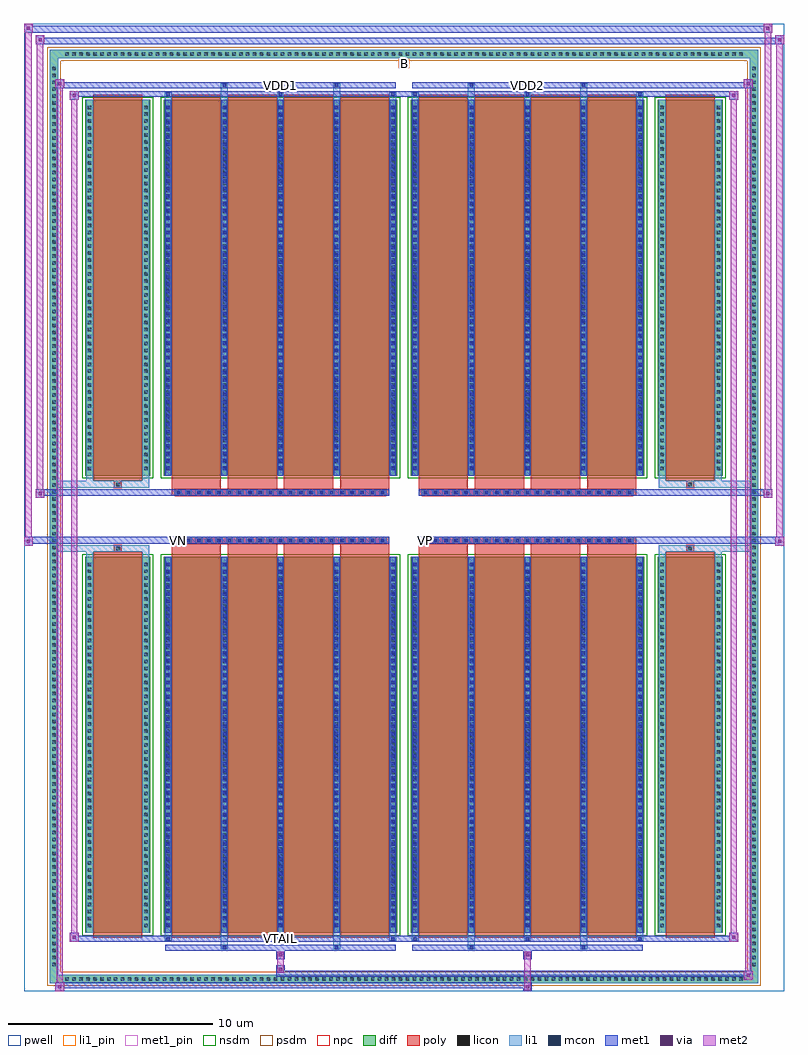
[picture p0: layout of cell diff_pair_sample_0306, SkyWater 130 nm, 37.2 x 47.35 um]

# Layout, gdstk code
import gdstk
lib = gdstk.Library(unit=1e-6, precision=5e-09)
def R(c, l, rs):  # rectangles x0, y0, x1, y1
    for r in rs: c.add(gdstk.rectangle(r[:2], r[2:], *l))
def A(c, l, x, y, w, h, nx, ny, dx, dy):  # array of equal rectangles
    R(c, l, [(x+i*dx, y+j*dy, x+i*dx+w, y+j*dy+h) for i in range(nx) for j in range(ny)])
def P(c, l, *ps):  # polygons
    for p in ps: c.add(gdstk.Polygon(p, *l))
pwell = (64, 44)
diff = (65, 20)
poly = (66, 20)
licon = (66, 44)
li1_pin = (67, 16)
li1 = (67, 20)
mcon = (67, 44)
met1_pin = (68, 16)
met1 = (68, 20)
via = (68, 44)
met2 = (69, 20)
nsdm = (93, 44)
psdm = (94, 20)
npc = (95, 20)

diff_pair_sample_0306 = lib.new_cell('diff_pair_sample_0306')
R(diff_pair_sample_0306, pwell, [(-18.6,-23.24,18.6,24.11), (-15.92,-21.43,-0.01,-0.805), (0.01,-21.43,15.92,-0.805), (-15.92,0.805,-0.01,21.43), (0.01,0.805,15.92,21.43)])
A(diff_pair_sample_0306, diff, -16.695, -22.84, 0.41, 0.41, 98, 2, 0.34, 45.27)
A(diff_pair_sample_0306, diff, -17.33, -22.135, 0.41, 0.41, 1, 130, 0, 0.34)
A(diff_pair_sample_0306, diff, 16.92, -22.135, 0.41, 0.41, 1, 130, 0, 0.34)
R(diff_pair_sample_0306, diff, [(-16.695,-22.84,16.695,-22.43), (-17.33,-22.135,-16.92,22.135), (16.92,-22.135,17.33,22.135), (-15.61,-20.385,-12.41,-1.985), (-11.77,-20.385,-0.32,-1.985), (0.32,-20.385,11.77,-1.985), (12.41,-20.385,15.61,-1.985), (-15.61,1.985,-12.41,20.385), (-11.77,1.985,-0.32,20.385), (0.32,1.985,11.77,20.385), (12.41,1.985,15.61,20.385), (-16.695,22.43,16.695,22.84)])
P(diff_pair_sample_0306, diff, [(17.33,22.84),(-17.33,22.84),(-17.33,-22.43),(-16.92,-22.43),(-16.92,22.43),(16.92,22.43),(16.92,-22.43),(-16.92,-22.43),(-17.33,-22.43),(-17.33,-22.84),(17.33,-22.84)])
A(diff_pair_sample_0306, poly, -11.38, -20.635, 2.42, 18.9, 4, 2, 2.75, 22.37)
A(diff_pair_sample_0306, poly, 0.71, -20.635, 2.42, 18.9, 4, 2, 2.75, 22.37)
A(diff_pair_sample_0306, poly, -11.38, -1.735, 2.42, 0.4, 4, 2, 2.75, 3.07)
A(diff_pair_sample_0306, poly, 0.71, -1.735, 2.42, 0.4, 4, 2, 2.75, 3.07)
A(diff_pair_sample_0306, poly, -11.21, -1.335, 0.33, 0.33, 21, 2, 0.5, 2.34)
A(diff_pair_sample_0306, poly, 0.88, -1.335, 0.33, 0.33, 21, 2, 0.5, 2.34)
R(diff_pair_sample_0306, poly, [(-15.22,-20.635,-12.8,-1.735), (12.8,-20.635,15.22,-1.735), (-14.175,-1.735,-13.845,-1.405), (-14.175,-1.735,-13.845,-1.405), (13.845,-1.735,14.175,-1.405), (13.845,-1.735,14.175,-1.405), (-11.38,-1.335,-0.71,-1.005), (0.71,-1.335,11.38,-1.005), (-11.38,1.005,-0.71,1.335), (0.71,1.005,11.38,1.335), (-14.175,1.405,-13.845,1.735), (-14.175,1.405,-13.845,1.735), (13.845,1.405,14.175,1.735), (13.845,1.405,14.175,1.735), (-15.22,1.735,-12.8,20.635), (12.8,1.735,15.22,20.635)])
A(diff_pair_sample_0306, licon, -16.575, -22.72, 0.17, 0.17, 98, 2, 0.34, 45.27)
A(diff_pair_sample_0306, licon, -17.21, -22.015, 0.17, 0.17, 1, 130, 0, 0.34)
A(diff_pair_sample_0306, licon, 17.04, -22.015, 0.17, 0.17, 1, 130, 0, 0.34)
A(diff_pair_sample_0306, licon, -15.47, -20.11, 0.17, 0.17, 1, 53, 0, 0.34)
A(diff_pair_sample_0306, licon, -12.72, -20.11, 0.17, 0.17, 1, 53, 0, 0.34)
A(diff_pair_sample_0306, licon, -11.63, -20.11, 0.17, 0.17, 5, 53, 2.75, 0.34)
A(diff_pair_sample_0306, licon, 0.46, -20.11, 0.17, 0.17, 5, 53, 2.75, 0.34)
A(diff_pair_sample_0306, licon, 12.55, -20.11, 0.17, 0.17, 1, 53, 0, 0.34)
A(diff_pair_sample_0306, licon, 15.3, -20.11, 0.17, 0.17, 1, 53, 0, 0.34)
A(diff_pair_sample_0306, licon, -11.13, -1.255, 0.17, 0.17, 21, 2, 0.5, 2.34)
A(diff_pair_sample_0306, licon, 0.96, -1.255, 0.17, 0.17, 21, 2, 0.5, 2.34)
A(diff_pair_sample_0306, licon, -15.47, 2.26, 0.17, 0.17, 1, 53, 0, 0.34)
A(diff_pair_sample_0306, licon, -12.72, 2.26, 0.17, 0.17, 1, 53, 0, 0.34)
A(diff_pair_sample_0306, licon, -11.63, 2.26, 0.17, 0.17, 5, 53, 2.75, 0.34)
A(diff_pair_sample_0306, licon, 0.46, 2.26, 0.17, 0.17, 5, 53, 2.75, 0.34)
A(diff_pair_sample_0306, licon, 12.55, 2.26, 0.17, 0.17, 1, 53, 0, 0.34)
A(diff_pair_sample_0306, licon, 15.3, 2.26, 0.17, 0.17, 1, 53, 0, 0.34)
R(diff_pair_sample_0306, licon, [(-14.095,-1.655,-13.925,-1.485), (13.925,-1.655,14.095,-1.485), (-14.095,1.485,-13.925,1.655), (13.925,1.485,14.095,1.655)])
R(diff_pair_sample_0306, li1_pin, [(-0.25,21.93,0.25,22.43)])
A(diff_pair_sample_0306, li1, -16.655, -22.8, 0.33, 0.33, 98, 2, 0.34, 45.27)
A(diff_pair_sample_0306, li1, -17.29, -22.095, 0.33, 0.33, 1, 130, 0, 0.34)
A(diff_pair_sample_0306, li1, 16.96, -22.095, 0.33, 0.33, 1, 130, 0, 0.34)
A(diff_pair_sample_0306, li1, -11.71, -20.76, 0.33, 0.375, 3, 2, 5.5, 41.145)
A(diff_pair_sample_0306, li1, -11.63, -20.76, 0.17, 0.17, 3, 2, 5.5, 41.35)
A(diff_pair_sample_0306, li1, 0.38, -20.76, 0.33, 0.375, 3, 2, 5.5, 41.145)
A(diff_pair_sample_0306, li1, 0.46, -20.76, 0.17, 0.17, 3, 2, 5.5, 41.35)
A(diff_pair_sample_0306, li1, -11.71, -20.385, 0.33, 18.4, 5, 2, 2.75, 22.37)
A(diff_pair_sample_0306, li1, 0.38, -20.385, 0.33, 18.4, 5, 2, 2.75, 22.37)
A(diff_pair_sample_0306, li1, -15.55, -20.19, 0.33, 0.33, 1, 53, 0, 0.34)
A(diff_pair_sample_0306, li1, -12.8, -20.19, 0.33, 0.33, 1, 53, 0, 0.34)
A(diff_pair_sample_0306, li1, -11.71, -20.19, 0.33, 0.33, 5, 53, 2.75, 0.34)
A(diff_pair_sample_0306, li1, 0.38, -20.19, 0.33, 0.33, 5, 53, 2.75, 0.34)
A(diff_pair_sample_0306, li1, 12.47, -20.19, 0.33, 0.33, 1, 53, 0, 0.34)
A(diff_pair_sample_0306, li1, 15.22, -20.19, 0.33, 0.33, 1, 53, 0, 0.34)
A(diff_pair_sample_0306, li1, -11.63, -20.09, 0.17, 0.17, 5, 50, 2.75, 0.36)
A(diff_pair_sample_0306, li1, -11.63, -20.09, 0.17, 17.81, 5, 2, 2.75, 22.37)
A(diff_pair_sample_0306, li1, 0.46, -20.09, 0.17, 0.17, 5, 50, 2.75, 0.36)
A(diff_pair_sample_0306, li1, 0.46, -20.09, 0.17, 17.81, 5, 2, 2.75, 22.37)
A(diff_pair_sample_0306, li1, -11.21, -1.335, 0.33, 0.33, 21, 2, 0.5, 2.34)
A(diff_pair_sample_0306, li1, 0.88, -1.335, 0.33, 0.33, 21, 2, 0.5, 2.34)
A(diff_pair_sample_0306, li1, -15.55, 2.18, 0.33, 0.33, 1, 53, 0, 0.34)
A(diff_pair_sample_0306, li1, -12.8, 2.18, 0.33, 0.33, 1, 53, 0, 0.34)
A(diff_pair_sample_0306, li1, -11.71, 2.18, 0.33, 0.33, 5, 53, 2.75, 0.34)
A(diff_pair_sample_0306, li1, 0.38, 2.18, 0.33, 0.33, 5, 53, 2.75, 0.34)
A(diff_pair_sample_0306, li1, 12.47, 2.18, 0.33, 0.33, 1, 53, 0, 0.34)
A(diff_pair_sample_0306, li1, 15.22, 2.18, 0.33, 0.33, 1, 53, 0, 0.34)
A(diff_pair_sample_0306, li1, -11.63, 2.28, 0.17, 0.17, 5, 50, 2.75, 0.36)
A(diff_pair_sample_0306, li1, 0.46, 2.28, 0.17, 0.17, 5, 50, 2.75, 0.36)
R(diff_pair_sample_0306, li1, [(-17.33,-22.84,-16.92,-22.43), (-17.33,-22.84,-16.92,-22.43), (-16.92,-22.84,16.92,-22.43), (16.92,-22.84,17.33,-22.43), (16.92,-22.84,17.33,-22.43), (-17.33,-22.43,-16.92,22.43), (16.92,-22.43,17.33,22.43), (-8.96,-21.19,-8.63,-20.385), (-8.88,-21.19,-8.71,-21.02), (-3.46,-21.19,-3.13,-20.385), (-3.38,-21.19,-3.21,-21.02), (3.13,-21.19,3.46,-20.385), (3.21,-21.19,3.38,-21.02), (8.63,-21.19,8.96,-20.385), (8.71,-21.19,8.88,-21.02), (-15.55,-20.385,-15.22,-1.985), (-12.8,-20.385,-12.47,-1.985), (12.47,-20.385,12.8,-1.985), (15.22,-20.385,15.55,-1.985), (-15.55,-1.985,-15.22,-1.405), (-12.8,-1.985,-12.47,-1.405), (12.47,-1.985,12.8,-1.405), (15.22,-1.985,15.55,-1.405), (-17.33,-1.735,-14.175,-1.405), (-15.55,-1.735,-14.175,-1.405), (-14.175,-1.735,-13.845,-1.405), (-13.845,-1.735,-12.47,-1.405), (12.47,-1.735,13.845,-1.405), (13.845,-1.735,14.175,-1.405), (13.845,-1.735,17.33,-1.405), (14.175,-1.735,15.55,-1.405), (-17.33,1.405,-14.175,1.735), (-15.55,1.405,-14.175,1.735), (-15.55,1.405,-15.22,1.985), (-14.175,1.405,-13.845,1.735), (-13.845,1.405,-12.47,1.735), (-12.8,1.405,-12.47,1.985), (12.47,1.405,13.845,1.735), (12.47,1.405,12.8,1.985), (13.845,1.405,14.175,1.735), (13.845,1.405,17.33,1.735), (14.175,1.405,15.55,1.735), (15.22,1.405,15.55,1.985), (-15.55,1.985,-15.22,20.385), (-12.8,1.985,-12.47,20.385), (12.47,1.985,12.8,20.385), (15.22,1.985,15.55,20.385), (-8.96,20.385,-8.63,21.19), (-3.46,20.385,-3.13,21.19), (3.13,20.385,3.46,21.19), (8.63,20.385,8.96,21.19), (-8.88,21.02,-8.71,21.19), (-3.38,21.02,-3.21,21.19), (3.21,21.02,3.38,21.19), (8.71,21.02,8.88,21.19), (-17.33,22.43,-16.92,22.84), (-17.33,22.43,-16.92,22.84), (-16.92,22.43,16.92,22.84), (16.92,22.43,17.33,22.84), (16.92,22.43,17.33,22.84)])
A(diff_pair_sample_0306, mcon, -11.63, -20.76, 0.17, 0.17, 3, 2, 5.5, 41.35)
A(diff_pair_sample_0306, mcon, 0.46, -20.76, 0.17, 0.17, 3, 2, 5.5, 41.35)
A(diff_pair_sample_0306, mcon, -11.63, -20.09, 0.17, 0.17, 5, 50, 2.75, 0.36)
A(diff_pair_sample_0306, mcon, 0.46, -20.09, 0.17, 0.17, 5, 50, 2.75, 0.36)
A(diff_pair_sample_0306, mcon, -11.13, -1.255, 0.17, 0.17, 21, 2, 0.5, 2.34)
A(diff_pair_sample_0306, mcon, 0.96, -1.255, 0.17, 0.17, 21, 2, 0.5, 2.34)
A(diff_pair_sample_0306, mcon, -11.63, 2.28, 0.17, 0.17, 5, 50, 2.75, 0.36)
A(diff_pair_sample_0306, mcon, 0.46, 2.28, 0.17, 0.17, 5, 50, 2.75, 0.36)
R(diff_pair_sample_0306, mcon, [(-8.88,-21.19,-8.71,-21.02), (-3.38,-21.19,-3.21,-21.02), (3.21,-21.19,3.38,-21.02), (8.71,-21.19,8.88,-21.02), (-8.88,21.02,-8.71,21.19), (-3.38,21.02,-3.21,21.19), (3.21,21.02,3.38,21.19), (8.71,21.02,8.88,21.19)])
R(diff_pair_sample_0306, met1_pin, [(-6.18,-20.8,-5.91,-20.53), (-11.18,-1.295,-10.91,-1.025), (0.91,-1.295,1.18,-1.025), (-6.18,20.98,-5.91,21.25), (5.91,20.98,6.18,21.25)])
A(diff_pair_sample_0306, met1, -11.69, -20.82, 0.29, 0.29, 3, 2, 5.5, 41.35)
A(diff_pair_sample_0306, met1, 0.4, -20.82, 0.29, 0.29, 3, 2, 5.5, 41.35)
A(diff_pair_sample_0306, met1, -11.69, -20.385, 0.29, 18.4, 5, 2, 2.75, 22.37)
A(diff_pair_sample_0306, met1, 0.4, -20.385, 0.29, 18.4, 5, 2, 2.75, 22.37)
A(diff_pair_sample_0306, met1, -11.69, -20.15, 0.29, 0.29, 5, 50, 2.75, 0.36)
A(diff_pair_sample_0306, met1, 0.4, -20.15, 0.29, 0.29, 5, 50, 2.75, 0.36)
A(diff_pair_sample_0306, met1, -11.19, -1.315, 0.29, 0.29, 21, 2, 0.5, 2.34)
A(diff_pair_sample_0306, met1, 0.9, -1.315, 0.29, 0.29, 21, 2, 0.5, 2.34)
A(diff_pair_sample_0306, met1, -11.69, 2.22, 0.29, 0.29, 5, 50, 2.75, 0.36)
A(diff_pair_sample_0306, met1, 0.4, 2.22, 0.29, 0.29, 5, 50, 2.75, 0.36)
R(diff_pair_sample_0306, met1, [(-17.06,-23.24,-16.63,-22.81), (5.83,-23.24,6.26,-22.81), (-17.06,-23.1,6.26,-22.81), (16.63,-22.67,17.06,-22.24), (-6.26,-22.53,17.06,-22.24), (-6.26,-22.39,-5.83,-21.96), (-6.26,-21.68,-5.83,-21.25), (5.83,-21.68,6.26,-21.25), (-11.69,-21.25,-0.4,-20.96), (-8.94,-21.25,-8.65,-20.96), (-3.44,-21.25,-3.15,-20.96), (0.4,-21.25,11.69,-20.96), (3.15,-21.25,3.44,-20.96), (8.65,-21.25,8.94,-20.96), (-16.35,-20.82,-15.92,-20.39), (-16.35,-20.82,-11.69,-20.53), (-11.69,-20.82,-0.4,-20.53), (-0.4,-20.82,0.4,-20.53), (0.4,-20.82,11.69,-20.53), (11.69,-20.82,16.35,-20.53), (15.92,-20.82,16.35,-20.39), (-18.6,-1.435,-18.17,-1.005), (18.17,-1.435,18.6,-1.005), (-18.6,-1.335,-0.71,-1.005), (-11.38,-1.335,-0.71,-1.005), (0.71,-1.335,11.38,-1.005), (0.71,-1.335,18.6,-1.005), (-18.03,0.905,-17.6,1.335), (17.6,0.905,18.03,1.335), (-18.03,1.005,-11.38,1.335), (-11.38,1.005,-0.71,1.335), (0.71,1.005,11.38,1.335), (11.38,1.005,18.03,1.335), (-16.35,20.39,-15.92,20.82), (15.92,20.39,16.35,20.82), (-16.35,20.53,-11.69,20.82), (-11.69,20.53,-0.4,20.82), (-0.4,20.53,0.4,20.82), (0.4,20.53,11.69,20.82), (11.69,20.53,16.35,20.82), (-17.06,20.96,-16.63,21.39), (-17.06,20.96,-11.69,21.25), (-11.69,20.96,-0.4,21.25), (-8.94,20.96,-8.65,21.25), (-3.44,20.96,-3.15,21.25), (0.4,20.96,11.69,21.25), (3.15,20.96,3.44,21.25), (8.65,20.96,8.94,21.25), (11.69,20.96,17.06,21.25), (16.63,20.96,17.06,21.39), (-18.03,23.11,-17.6,23.54), (-18.03,23.11,-15.92,23.44), (-15.92,23.11,15.92,23.44), (15.92,23.11,18.6,23.44), (18.17,23.11,18.6,23.54), (-18.6,23.68,-18.17,24.11), (-18.6,23.68,-15.92,24.01), (-15.92,23.68,15.92,24.01), (15.92,23.68,18.03,24.01), (17.6,23.68,18.03,24.11)])
R(diff_pair_sample_0306, via, [(-16.92,-23.1,-16.77,-22.95), (5.97,-23.1,6.12,-22.95), (16.77,-22.53,16.92,-22.38), (-6.12,-22.25,-5.97,-22.1), (-6.12,-21.54,-5.97,-21.39), (5.97,-21.54,6.12,-21.39), (-16.21,-20.68,-16.06,-20.53), (16.06,-20.68,16.21,-20.53), (-18.46,-1.295,-18.31,-1.145), (18.31,-1.295,18.46,-1.145), (-17.89,1.045,-17.74,1.195), (17.74,1.045,17.89,1.195), (-16.21,20.53,-16.06,20.68), (16.06,20.53,16.21,20.68), (-16.92,21.1,-16.77,21.25), (16.77,21.1,16.92,21.25), (-17.89,23.25,-17.74,23.4), (18.31,23.25,18.46,23.4), (-18.46,23.82,-18.31,23.97), (17.74,23.82,17.89,23.97)])
R(diff_pair_sample_0306, met2, [(-17.06,-23.24,-16.63,-22.81), (-16.99,-23.24,-16.7,21.39), (-16.7,-23.24,-16.63,-22.81), (-17.01,-23.19,-16.68,-22.86), (5.88,-23.19,6.21,-22.86), (5.88,-22.86,6.21,-21.63), (16.63,-22.67,17.06,-22.24), (16.7,-22.67,16.99,21.39), (16.99,-22.67,17.06,-22.24), (16.68,-22.62,17.01,-22.29), (-6.21,-22.34,-5.88,-22.01), (-6.21,-22.01,-5.88,-21.63), (-6.21,-21.63,-5.88,-21.3), (5.88,-21.63,6.21,-21.3), (-16.35,-20.82,-15.92,-20.39), (-16.28,-20.82,-15.99,20.82), (-15.99,-20.82,-15.92,-20.39), (15.92,-20.82,16.35,-20.39), (15.99,-20.82,16.28,20.82), (16.28,-20.82,16.35,-20.39), (-16.3,-20.77,-15.97,-20.44), (15.97,-20.77,16.3,-20.44), (-18.6,-1.435,-18.17,-1.005), (-18.55,-1.435,-18.22,24.11), (-18.22,-1.435,-18.17,-1.005), (18.17,-1.435,18.6,-1.005), (18.22,-1.435,18.55,23.54), (18.55,-1.435,18.6,-1.005), (-18.55,-1.385,-18.22,-1.055), (18.22,-1.385,18.55,-1.055), (-18.03,0.905,-17.6,1.335), (-17.98,0.905,-17.65,23.54), (-17.65,0.905,-17.6,1.335), (17.6,0.905,18.03,1.335), (17.65,0.905,17.98,24.11), (17.98,0.905,18.03,1.335), (-17.98,0.955,-17.65,1.285), (17.65,0.955,17.98,1.285), (-16.35,20.39,-15.92,20.82), (-15.99,20.39,-15.92,20.82), (15.92,20.39,16.35,20.82), (16.28,20.39,16.35,20.82), (-16.3,20.44,-15.97,20.77), (15.97,20.44,16.3,20.77), (-17.06,20.96,-16.63,21.39), (-16.7,20.96,-16.63,21.39), (16.63,20.96,17.06,21.39), (16.99,20.96,17.06,21.39), (-17.01,21.01,-16.68,21.34), (16.68,21.01,17.01,21.34), (-18.03,23.11,-17.6,23.54), (-17.65,23.11,-17.6,23.54), (18.17,23.11,18.6,23.54), (18.55,23.11,18.6,23.54), (-17.98,23.16,-17.65,23.49), (18.22,23.16,18.55,23.49), (-18.6,23.68,-18.17,24.11), (-18.22,23.68,-18.17,24.11), (17.6,23.68,18.03,24.11), (17.98,23.68,18.03,24.11), (-18.55,23.73,-18.22,24.06), (17.65,23.73,17.98,24.06)])
R(diff_pair_sample_0306, nsdm, [(-15.74,-20.515,-12.28,-1.855), (-11.9,-20.515,-0.19,-1.855), (0.19,-20.515,11.9,-1.855), (12.28,-20.515,15.74,-1.855), (-15.74,1.855,-12.28,20.515), (-11.9,1.855,-0.19,20.515), (0.19,1.855,11.9,20.515), (12.28,1.855,15.74,20.515)])
P(diff_pair_sample_0306, psdm, [(17.46,22.97),(-17.46,22.97),(-17.46,-22.3),(-16.79,-22.3),(-16.79,22.3),(16.79,22.3),(16.79,-22.3),(-16.79,-22.3),(-17.46,-22.3),(-17.46,-22.97),(17.46,-22.97)])
A(diff_pair_sample_0306, npc, -11.23, -1.355, 0.37, 0.37, 21, 2, 0.5, 2.34)
A(diff_pair_sample_0306, npc, 0.86, -1.355, 0.37, 0.37, 21, 2, 0.5, 2.34)
R(diff_pair_sample_0306, npc, [(-14.195,-1.755,-13.825,-1.385), (13.825,-1.755,14.195,-1.385), (-11.23,-1.355,-10.36,-0.985), (-11.23,-1.355,-10.36,-0.985), (-10.73,-1.355,-9.86,-0.985), (-10.73,-1.355,-9.86,-0.985), (-10.23,-1.355,-9.36,-0.985), (-10.23,-1.355,-9.36,-0.985), (-9.73,-1.355,-8.86,-0.985), (-9.73,-1.355,-8.86,-0.985), (-9.23,-1.355,-8.36,-0.985), (-9.23,-1.355,-8.36,-0.985), (-8.73,-1.355,-7.86,-0.985), (-8.73,-1.355,-7.86,-0.985), (-8.23,-1.355,-7.36,-0.985), (-8.23,-1.355,-7.36,-0.985), (-7.73,-1.355,-6.86,-0.985), (-7.73,-1.355,-6.86,-0.985), (-7.23,-1.355,-6.36,-0.985), (-7.23,-1.355,-6.36,-0.985), (-6.73,-1.355,-5.86,-0.985), (-6.73,-1.355,-5.86,-0.985), (-6.23,-1.355,-5.36,-0.985), (-6.23,-1.355,-5.36,-0.985), (-5.73,-1.355,-4.86,-0.985), (-5.73,-1.355,-4.86,-0.985), (-5.23,-1.355,-4.36,-0.985), (-5.23,-1.355,-4.36,-0.985), (-4.73,-1.355,-3.86,-0.985), (-4.73,-1.355,-3.86,-0.985), (-4.23,-1.355,-3.36,-0.985), (-4.23,-1.355,-3.36,-0.985), (-3.73,-1.355,-2.86,-0.985), (-3.73,-1.355,-2.86,-0.985), (-3.23,-1.355,-2.36,-0.985), (-3.23,-1.355,-2.36,-0.985), (-2.73,-1.355,-1.86,-0.985), (-2.73,-1.355,-1.86,-0.985), (-2.23,-1.355,-1.36,-0.985), (-2.23,-1.355,-1.36,-0.985), (-1.73,-1.355,-0.86,-0.985), (-1.73,-1.355,-0.86,-0.985), (0.86,-1.355,1.73,-0.985), (0.86,-1.355,1.73,-0.985), (1.36,-1.355,2.23,-0.985), (1.36,-1.355,2.23,-0.985), (1.86,-1.355,2.73,-0.985), (1.86,-1.355,2.73,-0.985), (2.36,-1.355,3.23,-0.985), (2.36,-1.355,3.23,-0.985), (2.86,-1.355,3.73,-0.985), (2.86,-1.355,3.73,-0.985), (3.36,-1.355,4.23,-0.985), (3.36,-1.355,4.23,-0.985), (3.86,-1.355,4.73,-0.985), (3.86,-1.355,4.73,-0.985), (4.36,-1.355,5.23,-0.985), (4.36,-1.355,5.23,-0.985), (4.86,-1.355,5.73,-0.985), (4.86,-1.355,5.73,-0.985), (5.36,-1.355,6.23,-0.985), (5.36,-1.355,6.23,-0.985), (5.86,-1.355,6.73,-0.985), (5.86,-1.355,6.73,-0.985), (6.36,-1.355,7.23,-0.985), (6.36,-1.355,7.23,-0.985), (6.86,-1.355,7.73,-0.985), (6.86,-1.355,7.73,-0.985), (7.36,-1.355,8.23,-0.985), (7.36,-1.355,8.23,-0.985), (7.86,-1.355,8.73,-0.985), (7.86,-1.355,8.73,-0.985), (8.36,-1.355,9.23,-0.985), (8.36,-1.355,9.23,-0.985), (8.86,-1.355,9.73,-0.985), (8.86,-1.355,9.73,-0.985), (9.36,-1.355,10.23,-0.985), (9.36,-1.355,10.23,-0.985), (9.86,-1.355,10.73,-0.985), (9.86,-1.355,10.73,-0.985), (10.36,-1.355,11.23,-0.985), (10.36,-1.355,11.23,-0.985), (-11.23,0.985,-10.36,1.355), (-11.23,0.985,-10.36,1.355), (-10.73,0.985,-9.86,1.355), (-10.73,0.985,-9.86,1.355), (-10.23,0.985,-9.36,1.355), (-10.23,0.985,-9.36,1.355), (-9.73,0.985,-8.86,1.355), (-9.73,0.985,-8.86,1.355), (-9.23,0.985,-8.36,1.355), (-9.23,0.985,-8.36,1.355), (-8.73,0.985,-7.86,1.355), (-8.73,0.985,-7.86,1.355), (-8.23,0.985,-7.36,1.355), (-8.23,0.985,-7.36,1.355), (-7.73,0.985,-6.86,1.355), (-7.73,0.985,-6.86,1.355), (-7.23,0.985,-6.36,1.355), (-7.23,0.985,-6.36,1.355), (-6.73,0.985,-5.86,1.355), (-6.73,0.985,-5.86,1.355), (-6.23,0.985,-5.36,1.355), (-6.23,0.985,-5.36,1.355), (-5.73,0.985,-4.86,1.355), (-5.73,0.985,-4.86,1.355), (-5.23,0.985,-4.36,1.355), (-5.23,0.985,-4.36,1.355), (-4.73,0.985,-3.86,1.355), (-4.73,0.985,-3.86,1.355), (-4.23,0.985,-3.36,1.355), (-4.23,0.985,-3.36,1.355), (-3.73,0.985,-2.86,1.355), (-3.73,0.985,-2.86,1.355), (-3.23,0.985,-2.36,1.355), (-3.23,0.985,-2.36,1.355), (-2.73,0.985,-1.86,1.355), (-2.73,0.985,-1.86,1.355), (-2.23,0.985,-1.36,1.355), (-2.23,0.985,-1.36,1.355), (-1.73,0.985,-0.86,1.355), (-1.73,0.985,-0.86,1.355), (0.86,0.985,1.73,1.355), (0.86,0.985,1.73,1.355), (1.36,0.985,2.23,1.355), (1.36,0.985,2.23,1.355), (1.86,0.985,2.73,1.355), (1.86,0.985,2.73,1.355), (2.36,0.985,3.23,1.355), (2.36,0.985,3.23,1.355), (2.86,0.985,3.73,1.355), (2.86,0.985,3.73,1.355), (3.36,0.985,4.23,1.355), (3.36,0.985,4.23,1.355), (3.86,0.985,4.73,1.355), (3.86,0.985,4.73,1.355), (4.36,0.985,5.23,1.355), (4.36,0.985,5.23,1.355), (4.86,0.985,5.73,1.355), (4.86,0.985,5.73,1.355), (5.36,0.985,6.23,1.355), (5.36,0.985,6.23,1.355), (5.86,0.985,6.73,1.355), (5.86,0.985,6.73,1.355), (6.36,0.985,7.23,1.355), (6.36,0.985,7.23,1.355), (6.86,0.985,7.73,1.355), (6.86,0.985,7.73,1.355), (7.36,0.985,8.23,1.355), (7.36,0.985,8.23,1.355), (7.86,0.985,8.73,1.355), (7.86,0.985,8.73,1.355), (8.36,0.985,9.23,1.355), (8.36,0.985,9.23,1.355), (8.86,0.985,9.73,1.355), (8.86,0.985,9.73,1.355), (9.36,0.985,10.23,1.355), (9.36,0.985,10.23,1.355), (9.86,0.985,10.73,1.355), (9.86,0.985,10.73,1.355), (10.36,0.985,11.23,1.355), (10.36,0.985,11.23,1.355), (-14.195,1.385,-13.825,1.755), (13.825,1.385,14.195,1.755)])
diff_pair_sample_0306.add(gdstk.Label('VTAIL', (-6.045,-20.665), layer=68, texttype=5))
diff_pair_sample_0306.add(gdstk.Label('VN', (-11.045,-1.16), layer=68, texttype=5))
diff_pair_sample_0306.add(gdstk.Label('VP', (1.045,-1.16), layer=68, texttype=5))
diff_pair_sample_0306.add(gdstk.Label('B', (0,22.18), layer=67, texttype=5))
diff_pair_sample_0306.add(gdstk.Label('VDD2', (6.045,21.115), layer=68, texttype=5))
diff_pair_sample_0306.add(gdstk.Label('VDD1', (-6.045,21.115), layer=68, texttype=5))

lib.write_gds('diff_pair_sample_0306.gds')
